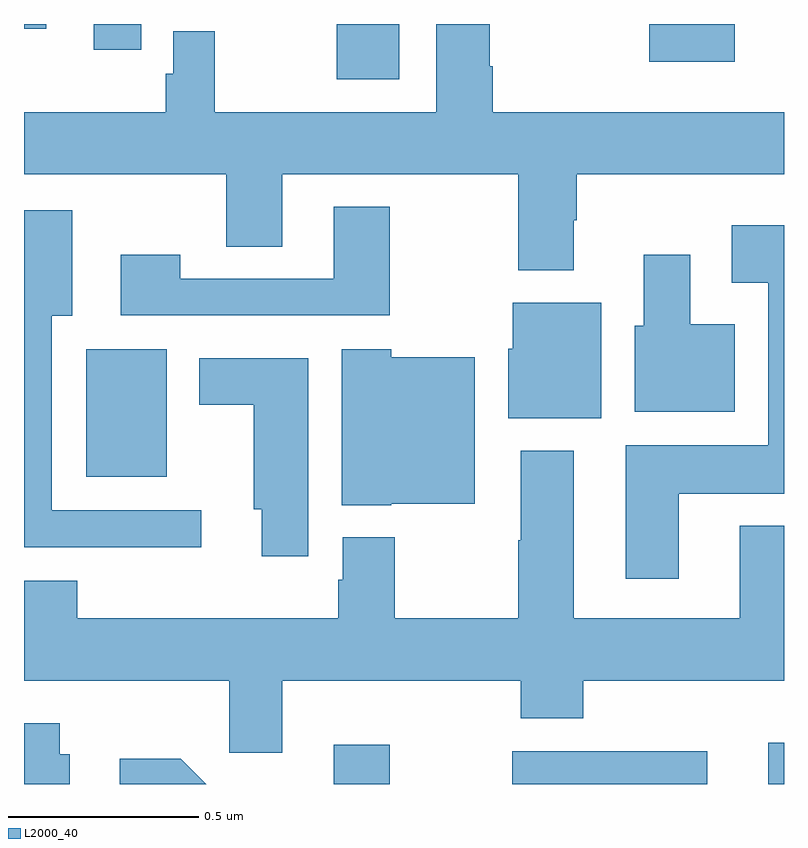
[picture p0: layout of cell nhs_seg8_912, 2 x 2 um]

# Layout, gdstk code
import gdstk
lib = gdstk.Library(unit=1e-6, precision=1e-09)
def R(c, l, rs):  # rectangles x0, y0, x1, y1
    for r in rs: c.add(gdstk.rectangle(r[:2], r[2:], *l))
def P(c, l, *ps):  # polygons
    for p in ps: c.add(gdstk.Polygon(p, *l))
L2000_40 = (2000, 40)

nhs_seg8_912 = lib.new_cell('nhs_seg8_912')
R(nhs_seg8_912, L2000_40, [(123.815,1110.9,123.963,1111.003), (124.285,1110.9,124.798,1110.986), (124.958,1110.9,125,1111.009), (123.164,1111.709,123.376,1112.044), (123.823,1112.754,123.988,1112.9), (124.646,1112.801,124.871,1112.9), (123.183,1112.832,123.308,1112.9), (123,1112.887,123.058,1112.9)])
P(nhs_seg8_912, L2000_40, [(124.447,1112.384),(124.455,1112.384),(124.455,1112.504),(125,1112.504),(125,1112.668),(124.233,1112.668),(124.233,1112.789),(124.225,1112.789),(124.225,1112.9),(124.085,1112.9),(124.085,1112.668),(123.502,1112.668),(123.502,1112.881),(123.393,1112.881),(123.393,1112.769),(123.373,1112.769),(123.373,1112.668),(123,1112.668),(123,1112.504),(123.532,1112.504),(123.532,1112.314),(123.679,1112.314),(123.679,1112.504),(124.3,1112.504),(124.3,1112.252),(124.447,1112.252)],
  [(123.963,1112.419),(123.815,1112.419),(123.815,1112.229),(123.411,1112.229),(123.411,1112.293),(123.255,1112.293),(123.255,1112.133),(123.963,1112.133)],
  [(123.466,1111.62),(123.073,1111.62),(123.073,1112.132),(123.127,1112.132),(123.127,1112.41),(123,1112.41),(123,1111.523),(123.466,1111.523)],
  [(124.723,1111.664),(125,1111.664),(125,1112.371),(124.863,1112.371),(124.863,1112.219),(124.958,1112.219),(124.958,1111.792),(124.583,1111.792),(124.583,1111.44),(124.723,1111.44)],
  [(124.87,1112.11),(124.753,1112.11),(124.753,1112.293),(124.631,1112.293),(124.631,1112.106),(124.607,1112.106),(124.607,1111.88),(124.87,1111.88)],
  [(124.519,1112.167),(124.286,1112.167),(124.286,1112.046),(124.274,1112.046),(124.274,1111.862),(124.519,1111.862)],
  [(123.966,1111.637),(124.186,1111.637),(124.186,1112.023),(123.966,1112.023),(123.966,1112.044),(123.836,1112.044),(123.836,1111.634),(123.966,1111.634)],
  [(123.748,1112.02),(123.461,1112.02),(123.461,1111.898),(123.605,1111.898),(123.605,1111.623),(123.626,1111.623),(123.626,1111.5),(123.748,1111.5)],
  [(123.679,1111.172),(124.307,1111.172),(124.307,1111.073),(124.472,1111.073),(124.472,1111.172),(125,1111.172),(125,1111.579),(124.883,1111.579),(124.883,1111.336),(124.447,1111.336),(124.447,1111.777),(124.307,1111.777),(124.307,1111.541),(124.3,1111.541),(124.3,1111.336),(123.975,1111.336),(123.975,1111.549),(123.839,1111.549),(123.839,1111.437),(123.827,1111.437),(123.827,1111.336),(123.14,1111.336),(123.14,1111.435),(123,1111.435),(123,1111.172),(123.54,1111.172),(123.54,1110.982),(123.679,1110.982)],
  [(123.121,1110.978),(123.094,1110.978),(123.094,1111.06),(123,1111.06),(123,1110.9),(123.121,1110.9)],
  [(123.413,1110.967),(123.252,1110.967),(123.252,1110.9),(123.48,1110.9)])

lib.write_gds('nhs_seg8_912.gds')
